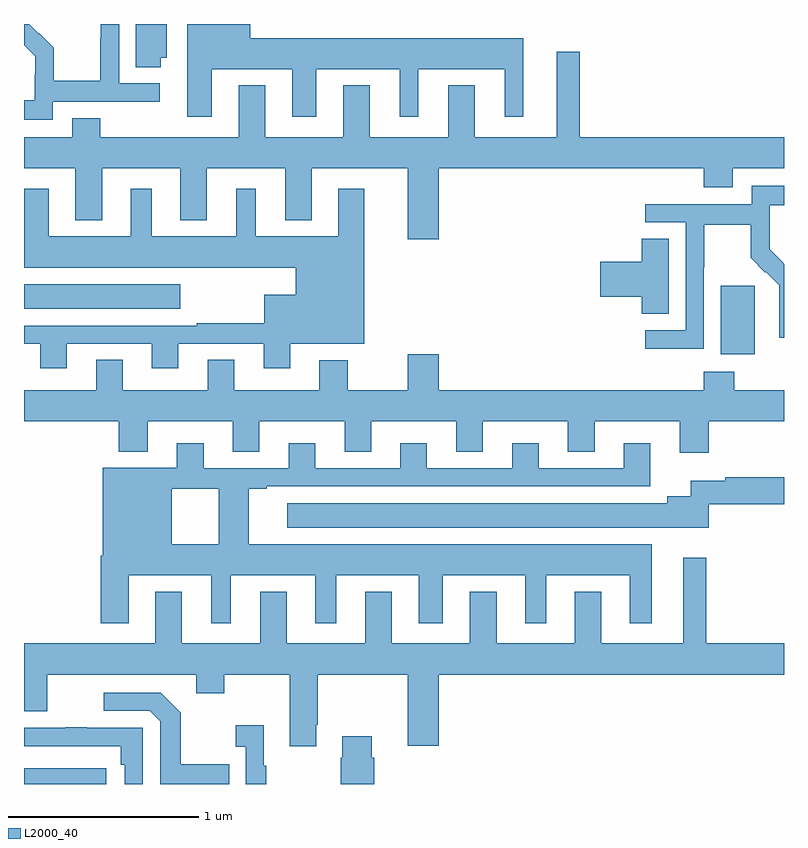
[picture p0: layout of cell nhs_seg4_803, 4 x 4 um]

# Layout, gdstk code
import gdstk
lib = gdstk.Library(unit=1e-6, precision=1e-09)
def R(c, l, rs):  # rectangles x0, y0, x1, y1
    for r in rs: c.add(gdstk.rectangle(r[:2], r[2:], *l))
def P(c, l, *ps):  # polygons
    for p in ps: c.add(gdstk.Polygon(p, *l))
L2000_40 = (2000, 40)

nhs_seg4_803 = lib.new_cell('nhs_seg4_803')
R(nhs_seg4_803, L2000_40, [(151,806.9,151.432,806.982), (154.667,809.162,154.846,809.523), (151,809.402,151.822,809.53)])
P(nhs_seg4_803, L2000_40, [(151.987,810.662),(152.411,810.662),(152.411,810.411),(152.539,810.411),(152.539,810.662),(152.978,810.662),(152.978,810.411),(153.076,810.411),(153.076,810.662),(153.53,810.662),(153.53,810.411),(153.628,810.411),(153.628,810.826),(152.191,810.826),(152.191,810.9),(151.859,810.9),(151.859,810.411),(151.987,810.411)],
  [(151.152,810.492),(151.714,810.492),(151.714,810.588),(151.5,810.588),(151.5,810.9),(151.404,810.9),(151.404,810.824),(151.402,810.824),(151.402,810.601),(151.157,810.601),(151.157,810.775),(151.08,810.852),(151.077,810.849),(151.027,810.9),(151,810.9),(151,810.788),(151.058,810.73),(151.058,810.633),(151.056,810.633),(151.056,810.499),(151,810.499),(151,810.395),(151.152,810.395)],
  [(151.72,810.722),(151.75,810.722),(151.75,810.9),(151.589,810.9),(151.589,810.673),(151.72,810.673)],
  [(153.184,810.14),(154.577,810.14),(154.577,810.041),(154.729,810.041),(154.729,810.14),(155,810.14),(155,810.304),(153.925,810.304),(153.925,810.754),(153.803,810.754),(153.803,810.304),(153.373,810.304),(153.373,810.577),(153.233,810.577),(153.233,810.304),(152.821,810.304),(152.821,810.577),(152.681,810.577),(152.681,810.304),(152.269,810.304),(152.269,810.577),(152.129,810.577),(152.129,810.304),(151.401,810.304),(151.401,810.403),(151.253,810.403),(151.253,810.304),(151,810.304),(151,810.14),(151.271,810.14),(151.271,809.867),(151.411,809.867),(151.411,810.14),(151.823,810.14),(151.823,809.867),(151.963,809.867),(151.963,810.14),(152.375,810.14),(152.375,809.867),(152.515,809.867),(152.515,810.14),(153.02,810.14),(153.02,809.766),(153.184,809.766)],
  [(154.578,809.62),(154.581,809.62),(154.581,809.844),(154.825,809.844),(154.825,809.669),(154.902,809.592),(154.905,809.595),(154.976,809.525),(154.976,809.402),(154.974,809.402),(154.974,809.248),(155,809.248),(155,809.636),(154.997,809.639),(154.998,809.64),(154.924,809.714),(154.924,809.811),(154.926,809.811),(154.926,809.945),(155,809.945),(155,810.049),(154.83,810.049),(154.83,809.952),(154.269,809.952),(154.269,809.856),(154.482,809.856),(154.482,809.289),(154.269,809.289),(154.269,809.191),(154.578,809.191)],
  [(151.225,809.217),(151.673,809.217),(151.673,809.088),(151.813,809.088),(151.813,809.217),(152.261,809.217),(152.261,809.088),(152.401,809.088),(152.401,809.216),(152.791,809.216),(152.791,810.034),(152.654,810.034),(152.654,809.782),(152.221,809.782),(152.221,810.034),(152.117,810.034),(152.117,809.782),(151.672,809.782),(151.672,810.034),(151.562,810.034),(151.562,809.782),(151.129,809.782),(151.129,810.034),(151.001,810.034),(151.001,809.782),(151,809.782),(151,809.618),(152.429,809.618),(152.429,809.476),(152.264,809.476),(152.264,809.326),(151.909,809.326),(151.909,809.313),(151,809.313),(151,809.217),(151.085,809.217),(151.085,809.088),(151.225,809.088)],
  [(154.393,809.771),(154.25,809.771),(154.25,809.648),(154.032,809.648),(154.032,809.465),(154.25,809.465),(154.25,809.374),(154.393,809.374)],
  [(154.604,808.808),(155,808.808),(155,808.972),(154.737,808.972),(154.737,809.071),(154.577,809.071),(154.577,808.972),(153.184,808.972),(153.184,809.161),(153.02,809.161),(153.02,808.972),(152.703,808.972),(152.703,809.131),(152.555,809.131),(152.555,808.972),(152.107,808.972),(152.107,809.132),(151.967,809.132),(151.967,808.972),(151.519,808.972),(151.519,809.132),(151.379,809.132),(151.379,808.972),(151,808.972),(151,808.808),(151.499,808.808),(151.499,808.649),(151.651,808.649),(151.651,808.808),(152.099,808.808),(152.099,808.648),(152.239,808.648),(152.239,808.808),(152.687,808.808),(152.687,808.648),(152.827,808.648),(152.827,808.808),(153.275,808.808),(153.275,808.648),(153.415,808.648),(153.415,808.808),(153.863,808.808),(153.863,808.648),(154.003,808.648),(154.003,808.808),(154.451,808.808),(154.451,808.644),(154.604,808.644)],
  [(151.403,808.102),(151.403,807.747),(151.552,807.747),(151.552,807.998),(151.985,807.998),(151.985,807.747),(152.089,807.747),(152.089,807.998),(152.534,807.998),(152.534,807.747),(152.644,807.747),(152.644,807.998),(153.077,807.998),(153.077,807.747),(153.205,807.747),(153.205,807.998),(153.638,807.998),(153.638,807.747),(153.748,807.747),(153.748,807.998),(154.187,807.998),(154.187,807.747),(154.303,807.747),(154.303,808.162),(152.182,808.162),(152.182,808.455),(152.278,808.455),(152.278,808.467),(154.297,808.467),(154.297,808.693),(154.157,808.693),(154.157,808.563),(153.709,808.563),(153.709,808.693),(153.569,808.693),(153.569,808.563),(153.121,808.563),(153.121,808.693),(152.981,808.693),(152.981,808.563),(152.533,808.563),(152.533,808.693),(152.393,808.693),(152.393,808.563),(151.945,808.563),(151.945,808.693),(151.805,808.693),(151.805,808.564),(151.415,808.564),(151.415,808.162),(151.777,808.162),(151.777,808.455),(152.024,808.455),(152.024,808.162),(151.777,808.162),(151.415,808.162),(151.415,808.102)],
  [(154.605,808.373),(155,808.373),(155,808.515),(154.692,808.515),(154.692,808.495),(154.509,808.495),(154.509,808.414),(154.385,808.414),(154.385,808.378),(152.385,808.378),(152.385,808.25),(154.605,808.25)],
  [(152.539,807.211),(152.547,807.211),(152.547,807.476),(153.02,807.476),(153.02,807.102),(153.184,807.102),(153.184,807.476),(155,807.476),(155,807.64),(154.591,807.64),(154.591,808.09),(154.469,808.09),(154.469,807.64),(154.039,807.64),(154.039,807.913),(153.899,807.913),(153.899,807.64),(153.487,807.64),(153.487,807.913),(153.347,807.913),(153.347,807.64),(152.935,807.64),(152.935,807.913),(152.795,807.913),(152.795,807.64),(152.383,807.64),(152.383,807.913),(152.243,807.913),(152.243,807.64),(151.831,807.64),(151.831,807.913),(151.691,807.913),(151.691,807.64),(151,807.64),(151,807.282),(151.123,807.282),(151.123,807.476),(151.907,807.476),(151.907,807.377),(152.055,807.377),(152.055,807.476),(152.399,807.476),(152.399,807.099),(152.539,807.099)],
  [(152.081,807.003),(151.825,807.003),(151.825,807.275),(151.719,807.381),(151.419,807.381),(151.419,807.285),(151.662,807.285),(151.716,807.231),(151.716,806.9),(152.081,806.9)],
  [(152.275,806.995),(152.263,806.995),(152.263,807.208),(152.115,807.208),(152.115,807.095),(152.166,807.095),(152.166,806.9),(152.275,806.9)],
  [(151.626,807.195),(151.331,807.195),(151.331,807.2),(151.219,807.2),(151.219,807.195),(151,807.195),(151,807.099),(151.51,807.099),(151.51,807.002),(151.53,807.002),(151.53,806.9),(151.626,806.9)],
  [(152.843,807.038),(152.83,807.038),(152.83,807.151),(152.675,807.151),(152.675,807.038),(152.668,807.038),(152.668,806.9),(152.843,806.9)])

lib.write_gds('nhs_seg4_803.gds')
